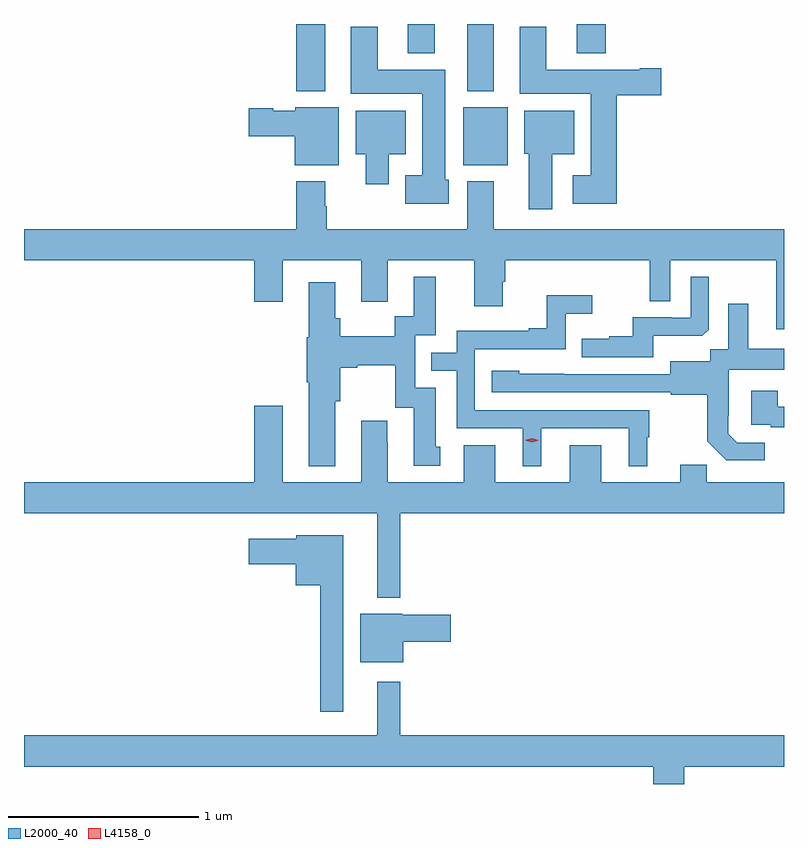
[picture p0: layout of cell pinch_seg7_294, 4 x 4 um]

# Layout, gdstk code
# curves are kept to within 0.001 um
import gdstk
lib = gdstk.Library(unit=1e-6, precision=1e-09)
def R(c, l, rs):  # rectangles x0, y0, x1, y1
    for r in rs: c.add(gdstk.rectangle(r[:2], r[2:], *l))
def P(c, l, *ps):  # polygons
    for p in ps: c.add(gdstk.Polygon(p, *l))
L2000_40 = (2000, 40)
L4158_0 = (4158, 0)

pinch_seg7_294 = lib.new_cell('pinch_seg7_294')
R(pinch_seg7_294, L2000_40, [(509.678,1054.397,509.911,1054.702), (508.799,1054.787,508.951,1055.14), (509.699,1054.787,509.839,1055.14), (509.387,1054.985,509.527,1055.14), (510.275,1054.985,510.428,1055.14)])
P(pinch_seg7_294, L2000_40, [(510.485,1054.766),(510.721,1054.766),(510.721,1054.908),(510.608,1054.908),(510.608,1054.9),(510.115,1054.9),(510.115,1055.125),(509.975,1055.125),(509.975,1054.772),(510.35,1054.772),(510.35,1054.345),(510.255,1054.345),(510.255,1054.193),(510.485,1054.193)],
  [(509.602,1054.32),(509.584,1054.32),(509.584,1054.9),(509.227,1054.9),(509.227,1055.125),(509.087,1055.125),(509.087,1054.772),(509.462,1054.772),(509.462,1054.345),(509.372,1054.345),(509.372,1054.193),(509.602,1054.193)],
  [(509.023,1054.702),(508.794,1054.702),(508.794,1054.684),(508.677,1054.684),(508.677,1054.697),(508.548,1054.697),(508.548,1054.55),(508.79,1054.55),(508.79,1054.397),(509.023,1054.397)],
  [(510.145,1054.454),(510.262,1054.454),(510.262,1054.684),(509.999,1054.684),(509.999,1054.458),(510.023,1054.458),(510.023,1054.164),(510.145,1054.164)],
  [(509.287,1054.454),(509.374,1054.454),(509.374,1054.684),(509.111,1054.684),(509.111,1054.454),(509.165,1054.454),(509.165,1054.296),(509.287,1054.296)],
  [(511.366,1054.06),(509.839,1054.06),(509.839,1054.312),(509.699,1054.312),(509.699,1054.06),(508.959,1054.06),(508.959,1054.181),(508.951,1054.181),(508.951,1054.312),(508.799,1054.312),(508.799,1054.06),(507.366,1054.06),(507.366,1053.896),(508.577,1053.896),(508.577,1053.678),(508.729,1053.678),(508.729,1053.896),(509.141,1053.896),(509.141,1053.678),(509.281,1053.678),(509.281,1053.896),(509.735,1053.896),(509.735,1053.654),(509.887,1053.654),(509.887,1053.783),(509.9,1053.783),(509.9,1053.896),(510.66,1053.896),(510.66,1053.682),(510.768,1053.682),(510.768,1053.896),(511.325,1053.896),(511.325,1053.534),(511.366,1053.534)],
  [(509.005,1053.155),(509.031,1053.155),(509.031,1053.332),(509.119,1053.332),(509.119,1053.344),(509.321,1053.344),(509.321,1053.12),(509.417,1053.12),(509.417,1052.814),(509.557,1052.814),(509.557,1052.916),(509.533,1052.916),(509.533,1053.225),(509.424,1053.225),(509.424,1053.501),(509.533,1053.501),(509.533,1053.811),(509.417,1053.811),(509.417,1053.602),(509.316,1053.602),(509.316,1053.496),(509.031,1053.496),(509.031,1053.591),(509.005,1053.591),(509.005,1053.781),(508.865,1053.781),(508.865,1053.492),(508.853,1053.492),(508.853,1053.255),(508.865,1053.255),(508.865,1052.813),(509.005,1052.813)],
  [(510.679,1053.5),(510.937,1053.5),(510.969,1053.531),(510.969,1053.811),(510.876,1053.811),(510.876,1053.594),(510.776,1053.594),(510.776,1053.597),(510.569,1053.597),(510.569,1053.496),(510.445,1053.496),(510.445,1053.484),(510.301,1053.484),(510.301,1053.387),(510.679,1053.387)],
  [(510.088,1053.012),(510.548,1053.012),(510.548,1052.813),(510.646,1052.813),(510.646,1052.964),(510.658,1052.964),(510.658,1053.108),(509.739,1053.108),(509.739,1053.429),(510.216,1053.429),(510.216,1053.614),(510.358,1053.614),(510.358,1053.713),(510.118,1053.713),(510.118,1053.538),(510.023,1053.538),(510.023,1053.525),(509.643,1053.525),(509.643,1053.411),(509.509,1053.411),(509.509,1053.315),(509.643,1053.315),(509.643,1053.012),(509.99,1053.012),(509.99,1052.813),(510.088,1052.813)],
  [(511.264,1052.937),(511.119,1052.937),(511.072,1052.984),(511.072,1053.079),(511.074,1053.079),(511.074,1053.32),(511.366,1053.32),(511.366,1053.43),(511.177,1053.43),(511.177,1053.667),(511.073,1053.667),(511.073,1053.428),(510.978,1053.428),(510.978,1053.364),(510.767,1053.364),(510.767,1053.297),(509.973,1053.298),(509.973,1053.316),(509.829,1053.316),(509.829,1053.201),(510.771,1053.201),(510.771,1053.189),(510.963,1053.189),(510.963,1052.943),(511.063,1052.843),(511.264,1052.843)],
  [(511.366,1053.126),(511.333,1053.126),(511.333,1053.211),(511.193,1053.211),(511.193,1053.03),(511.297,1053.03),(511.297,1053.018),(511.366,1053.018)],
  [(509.347,1052.564),(511.366,1052.564),(511.366,1052.728),(510.959,1052.728),(510.959,1052.819),(510.821,1052.819),(510.821,1052.728),(510.403,1052.728),(510.403,1052.923),(510.239,1052.923),(510.239,1052.728),(509.845,1052.728),(509.845,1052.923),(509.681,1052.923),(509.681,1052.728),(509.281,1052.728),(509.281,1052.939),(509.278,1052.939),(509.278,1053.052),(509.141,1053.052),(509.141,1052.728),(508.729,1052.728),(508.729,1053.13),(508.577,1053.13),(508.577,1052.728),(507.366,1052.728),(507.366,1052.564),(509.225,1052.564),(509.225,1052.12),(509.347,1052.12)],
  [(509.047,1052.449),(508.8,1052.449),(508.8,1052.431),(508.548,1052.431),(508.548,1052.297),(508.796,1052.297),(508.796,1052.186),(508.926,1052.186),(508.926,1051.521),(509.047,1051.521)],
  [(509.362,1051.888),(509.611,1051.888),(509.611,1052.03),(509.358,1052.03),(509.358,1052.035),(509.135,1052.035),(509.135,1051.781),(509.362,1051.781)],
  [(510.842,1051.232),(511.366,1051.232),(511.366,1051.396),(509.347,1051.396),(509.347,1051.678),(509.225,1051.678),(509.225,1051.396),(507.366,1051.396),(507.366,1051.232),(510.677,1051.232),(510.677,1051.14),(510.842,1051.14)])
P(pinch_seg7_294, L4158_0, [(510.039,1052.939),(510.004,1052.948),(510.003,1052.948),(510.004,1052.948),(510.039,1052.959),(510.074,1052.95),(510.075,1052.95),(510.074,1052.95)])

lib.write_gds('pinch_seg7_294.gds')
